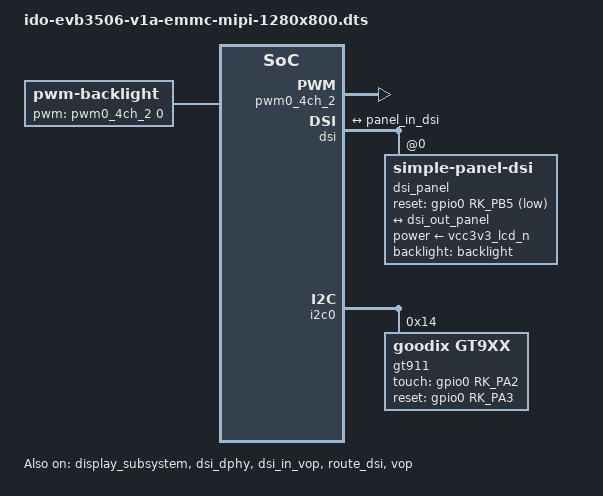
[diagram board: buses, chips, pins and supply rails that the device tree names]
// SPDX-License-Identifier: (GPL-2.0+ OR MIT)
/*
 * Copyright (c) 2024 Rockchip Electronics Co., Ltd.
 */


#include <dt-bindings/display/drm_mipi_dsi.h>
#include <dt-bindings/input/rk-input.h>
#include <dt-bindings/suspend/rockchip-rk3506.h>
#include "ido-evb3506-v1a-emmc.dtsi"

/ {
	backlight: backlight {
		compatible = "pwm-backlight";
		pwms = <&pwm0_4ch_2 0 25000 0>;
		brightness-levels = <
			  0  20  20  21  21  22  22  23
			 23  24  24  25  25  26  26  27
			 27  28  28  29  29  30  30  31
			 31  32  32  33  33  34  34  35
			 35  36  36  37  37  38  38  39
			 40  41  42  43  44  45  46  47
			 48  49  50  51  52  53  54  55
			 56  57  58  59  60  61  62  63
			 64  65  66  67  68  69  70  71
			 72  73  74  75  76  77  78  79
			 80  81  82  83  84  85  86  87
			 88  89  90  91  92  93  94  95
			 96  97  98  99 100 101 102 103
			104 105 106 107 108 109 110 111
			112 113 114 115 116 117 118 119
			120 121 122 123 124 125 126 127
			128 129 130 131 132 133 134 135
			136 137 138 139 140 141 142 143
			144 145 146 147 148 149 150 151
			152 153 154 155 156 157 158 159
			160 161 162 163 164 165 166 167
			168 169 170 171 172 173 174 175
			176 177 178 179 180 181 182 183
			184 185 186 187 188 189 190 191
			192 193 194 195 196 197 198 199
			200 201 202 203 204 205 206 207
			208 209 210 211 212 213 214 215
			216 217 218 219 220 221 222 223
			224 225 226 227 228 229 230 231
			232 233 234 235 236 237 238 239
			240 241 242 243 244 245 246 247
			248 249 250 251 252 253 254 255
		>;
		default-brightness-level = <200>;
		status = "okay";
	};
};


&display_subsystem {
	logo-memory-region = <&drm_logo>;
	status = "okay";
};

&pwm0_4ch_2 {
        pinctrl-names = "active";
        pinctrl-0 = <&rm_io4_pwm0_ch2>;
        status = "okay";
};

&dsi {
	status = "okay";
	//rockchip,lane-rate = <850>;
	logo,rotate = <2>;
	dsi_panel: panel@0 {
		status = "okay";
		compatible = "simple-panel-dsi";
		reg = <0>;
		backlight = <&backlight>;
		reset-gpios  = <&gpio0 RK_PB5 GPIO_ACTIVE_LOW>;
		prepare-delay-ms = <5>;
		reset-delay-ms = <1>;
		init-delay-ms = <80>;
		disable-delay-ms = <10>;
		unprepare-delay-ms = <5>;

		width-mm = <68>;
		height-mm = <121>;

		dsi,flags = <(MIPI_DSI_MODE_VIDEO | MIPI_DSI_MODE_VIDEO_BURST |
			      MIPI_DSI_MODE_LPM | MIPI_DSI_MODE_NO_EOT_PACKET)>;
		dsi,format = <MIPI_DSI_FMT_RGB888>;
		dsi,lanes  = <2>;
		panel-init-sequence = [
#if 0
			39 00 04 B9 F1 12 87
			39 00 04 B2 B4 03 70
			39 00 0B B3 10 10 28 28 03 FF 00 00 00 00
			15 00 02 B4 80
			39 00 03 B5 0A 0A
			39 00 03 B6 8D 8D
			39 00 05 B8 26 22 F0 13
			39 00 1C BA 31 81 05 F9 0E 0E 20 00 00 00 00 00 00 00 44 25 00 91 0A 00 00 01 4F 01 00 00 37
			15 00 02 BC 47
			39 00 06 BF 02 10 00 80 04
			39 00 0A C0 73 73 50 50 00 00 12 73 00
			39 00 12 C1 36 00 32 32 77 E1 77 77 CC CC FF FF 11 11 00 00 32
			39 00 0D C7 10 00 0A 00 00 00 00 00 ED C5 00 A5
			39 00 05 C8 10 40 1E 03
			15 00 02 CC 0B
			39 00 23 E0 00 0A 0F 2A 33 3F 44 39 06 0C 0E 14 15 13 15 10 18 00 0A 0F 2A 33 3F 44 39 06 0C 0E 14 15 13 15 10 18
			39 00 08 E1 11 11 91 00 00 00 00
			39 00 0F E3 07 07 0B 0B 0B 0B 00 00 00 00 FF 04 C0 10
			39 00 40 E9 C8 10 0A 00 00 80 81 12 31 23 4F 86 A0 00 47 08 00 00 0C 00 00 00 00 00 0C 00 00 00 98 02 8B AF 46 02 88 88 88 88 88 98 13 8B AF 57 13 88 88 88 88 88 00 00 00 00 00 00 00 00 00 00 00 00 00 
			39 00 3E EA 97 0C 09 09 09 78 00 00 00 00 00 00 9F 31 8B A8 31 75 88 88 88 88 88 9F 20 8B A8 20 64 88 88 88 88 88 23 00 00 02 71 00 00 00 00 00 00 00 00 00 00 00 00 00 00 00 40 80 81 00 00 00 00
			39 00 04 EF FF FF 01
		/*	mipi init : F700035	*/
			15 00 02 B2 10
			15 00 02 80 AC
			15 00 02 81 B8
			15 00 02 82 09
			15 00 02 83 78
			15 00 02 84 7F
			15 00 02 85 BB
			15 00 02 86 70
#endif
39 00 04 FF 98 81 03    /* Generic_Long_Write_3P(0xFF,0x98,0x81,0x03) */
15 00 02 01 00          /* Generic_Short_Write_1P(0x01,0x00) */
15 00 02 02 00          /* Generic_Short_Write_1P(0x02,0x00) */
15 00 02 03 73          /* Generic_Short_Write_1P(0x03,0x73) */
15 00 02 04 13          /* Generic_Short_Write_1P(0x04,0x13) */
15 00 02 05 00          /* Generic_Short_Write_1P(0x05,0x00) */
15 00 02 06 0A          /* Generic_Short_Write_1P(0x06,0x0A) */
15 00 02 07 05          /* Generic_Short_Write_1P(0x07,0x05) */
15 00 02 08 00          /* Generic_Short_Write_1P(0x08,0x00) */
15 00 02 09 28          /* Generic_Short_Write_1P(0x09,0x28) */
15 00 02 0A 00          /* Generic_Short_Write_1P(0x0A,0x00) */
15 00 02 0B 00          /* Generic_Short_Write_1P(0x0B,0x00) */
15 00 02 0C 00          /* Generic_Short_Write_1P(0x0C,0x00) */
15 00 02 0D 28          /* Generic_Short_Write_1P(0x0D,0x28) */
15 00 02 0E 00          /* Generic_Short_Write_1P(0x0E,0x00) */
15 00 02 0F 28          /* Generic_Short_Write_1P(0x0F,0x28) */
15 00 02 10 28          /* Generic_Short_Write_1P(0x10,0x28) */
15 00 02 11 00          /* Generic_Short_Write_1P(0x11,0x00) */
15 00 02 12 00          /* Generic_Short_Write_1P(0x12,0x00) */
15 00 02 13 00          /* Generic_Short_Write_1P(0x13,0x00) */
15 00 02 14 00          /* Generic_Short_Write_1P(0x14,0x00) */
15 00 02 15 00          /* Generic_Short_Write_1P(0x15,0x00) */
15 00 02 16 00          /* Generic_Short_Write_1P(0x16,0x00) */
15 00 02 17 00          /* Generic_Short_Write_1P(0x17,0x00) */
15 00 02 18 00          /* Generic_Short_Write_1P(0x18,0x00) */
15 00 02 19 00          /* Generic_Short_Write_1P(0x19,0x00) */
15 00 02 1A 00          /* Generic_Short_Write_1P(0x1A,0x00) */
15 00 02 1B 00          /* Generic_Short_Write_1P(0x1B,0x00) */
15 00 02 1C 00          /* Generic_Short_Write_1P(0x1C,0x00) */
15 00 02 1D 00          /* Generic_Short_Write_1P(0x1D,0x00) */
15 00 02 1E 40          /* Generic_Short_Write_1P(0x1E,0x40) */
15 00 02 1F 80          /* Generic_Short_Write_1P(0x1F,0x80) */
15 00 02 20 06          /* Generic_Short_Write_1P(0x20,0x06) */
15 00 02 21 01          /* Generic_Short_Write_1P(0x21,0x01) */
15 00 02 22 00          /* Generic_Short_Write_1P(0x22,0x00) */
15 00 02 23 00          /* Generic_Short_Write_1P(0x23,0x00) */
15 00 02 24 00          /* Generic_Short_Write_1P(0x24,0x00) */
15 00 02 25 00          /* Generic_Short_Write_1P(0x25,0x00) */
15 00 02 26 00          /* Generic_Short_Write_1P(0x26,0x00) */
15 00 02 27 00          /* Generic_Short_Write_1P(0x27,0x00) */
15 00 02 28 33          /* Generic_Short_Write_1P(0x28,0x33) */
15 00 02 29 33          /* Generic_Short_Write_1P(0x29,0x33) */
15 00 02 2A 00          /* Generic_Short_Write_1P(0x2A,0x00) */
15 00 02 2B 00          /* Generic_Short_Write_1P(0x2B,0x00) */
15 00 02 2C 04          /* Generic_Short_Write_1P(0x2C,0x04) */
15 00 02 2D 04          /* Generic_Short_Write_1P(0x2D,0x04) */
15 00 02 2E 05          /* Generic_Short_Write_1P(0x2E,0x05) */
15 00 02 2F 05          /* Generic_Short_Write_1P(0x2F,0x05) */
15 00 02 30 00          /* Generic_Short_Write_1P(0x30,0x00) */
15 00 02 31 00          /* Generic_Short_Write_1P(0x31,0x00) */
15 00 02 32 31          /* Generic_Short_Write_1P(0x32,0x31) */
15 00 02 33 00          /* Generic_Short_Write_1P(0x33,0x00) */
15 00 02 34 00          /* Generic_Short_Write_1P(0x34,0x00) */
15 00 02 35 0A          /* Generic_Short_Write_1P(0x35,0x0A) */
15 00 02 36 00          /* Generic_Short_Write_1P(0x36,0x00) */
15 00 02 37 08          /* Generic_Short_Write_1P(0x37,0x08) */
15 00 02 38 00          /* Generic_Short_Write_1P(0x38,0x00) */
15 00 02 39 00          /* Generic_Short_Write_1P(0x39,0x00) */
15 00 02 3A 00          /* Generic_Short_Write_1P(0x3A,0x00) */
15 00 02 3B 00          /* Generic_Short_Write_1P(0x3B,0x00) */
15 00 02 3C 00          /* Generic_Short_Write_1P(0x3C,0x00) */
15 00 02 3D 00          /* Generic_Short_Write_1P(0x3D,0x00) */
15 00 02 3E 00          /* Generic_Short_Write_1P(0x3E,0x00) */
15 00 02 3F 00          /* Generic_Short_Write_1P(0x3F,0x00) */
15 00 02 40 00          /* Generic_Short_Write_1P(0x40,0x00) */
15 00 02 41 00          /* Generic_Short_Write_1P(0x41,0x00) */
15 00 02 42 00          /* Generic_Short_Write_1P(0x42,0x00) */
15 00 02 43 08          /* Generic_Short_Write_1P(0x43,0x08) */
15 00 02 44 00          /* Generic_Short_Write_1P(0x44,0x00) */

15 00 02 50 01          /* Generic_Short_Write_1P(0x50,0x01) */
15 00 02 51 23          /* Generic_Short_Write_1P(0x51,0x23) */
15 00 02 52 44          /* Generic_Short_Write_1P(0x52,0x44) */
15 00 02 53 67          /* Generic_Short_Write_1P(0x53,0x67) */
15 00 02 54 89          /* Generic_Short_Write_1P(0x54,0x89) */
15 00 02 55 AB          /* Generic_Short_Write_1P(0x55,0xAB) */
15 00 02 56 01          /* Generic_Short_Write_1P(0x56,0x01) */
15 00 02 57 23          /* Generic_Short_Write_1P(0x57,0x23) */
15 00 02 58 45          /* Generic_Short_Write_1P(0x58,0x45) */
15 00 02 59 67          /* Generic_Short_Write_1P(0x59,0x67) */
15 00 02 5A 89          /* Generic_Short_Write_1P(0x5A,0x89) */
15 00 02 5B AB          /* Generic_Short_Write_1P(0x5B,0xAB) */
15 00 02 5C CD          /* Generic_Short_Write_1P(0x5C,0xCD) */
15 00 02 5D EF          /* Generic_Short_Write_1P(0x5D,0xEF) */

15 00 02 5E 11          /* Generic_Short_Write_1P(0x5E,0x11) */
15 00 02 5F 02          /* Generic_Short_Write_1P(0x5F,0x02) */
15 00 02 60 08          /* Generic_Short_Write_1P(0x60,0x08) */
15 00 02 61 0E          /* Generic_Short_Write_1P(0x61,0x0E) */
15 00 02 62 0F          /* Generic_Short_Write_1P(0x62,0x0F) */
15 00 02 63 0C          /* Generic_Short_Write_1P(0x63,0x0C) */
15 00 02 64 0D          /* Generic_Short_Write_1P(0x64,0x0D) */
15 00 02 65 17          /* Generic_Short_Write_1P(0x65,0x17) */
15 00 02 66 01          /* Generic_Short_Write_1P(0x66,0x01) */
15 00 02 67 01          /* Generic_Short_Write_1P(0x67,0x01) */
15 00 02 68 02          /* Generic_Short_Write_1P(0x68,0x02) */
15 00 02 69 02          /* Generic_Short_Write_1P(0x69,0x02) */
15 00 02 6A 00          /* Generic_Short_Write_1P(0x6A,0x00) */
15 00 02 6B 00          /* Generic_Short_Write_1P(0x6B,0x00) */
15 00 02 6C 02          /* Generic_Short_Write_1P(0x6C,0x02) */
15 00 02 6D 02          /* Generic_Short_Write_1P(0x6D,0x02) */
15 00 02 6E 16          /* Generic_Short_Write_1P(0x6E,0x16) */
15 00 02 6F 16          /* Generic_Short_Write_1P(0x6F,0x16) */
15 00 02 70 06          /* Generic_Short_Write_1P(0x70,0x06) */
15 00 02 71 06          /* Generic_Short_Write_1P(0x71,0x06) */
15 00 02 72 07          /* Generic_Short_Write_1P(0x72,0x07) */
15 00 02 73 07          /* Generic_Short_Write_1P(0x73,0x07) */
15 00 02 74 02          /* Generic_Short_Write_1P(0x74,0x02) */
15 00 02 75 02          /* Generic_Short_Write_1P(0x75,0x02) */
15 00 02 76 08          /* Generic_Short_Write_1P(0x76,0x08) */
15 00 02 77 0E          /* Generic_Short_Write_1P(0x77,0x0E) */
15 00 02 78 0F          /* Generic_Short_Write_1P(0x78,0x0F) */
15 00 02 79 0C          /* Generic_Short_Write_1P(0x79,0x0C) */
15 00 02 7A 0D          /* Generic_Short_Write_1P(0x7A,0x0D) */
15 00 02 7B 17          /* Generic_Short_Write_1P(0x7B,0x17) */

15 00 02 7C 01          /* Generic_Short_Write_1P(0x7C,0x01) */
15 00 02 7D 01          /* Generic_Short_Write_1P(0x7D,0x01) */
15 00 02 7E 02          /* Generic_Short_Write_1P(0x7E,0x02) */
15 00 02 7F 02          /* Generic_Short_Write_1P(0x7F,0x02) */
15 00 02 80 00          /* Generic_Short_Write_1P(0x80,0x00) */
15 00 02 81 00          /* Generic_Short_Write_1P(0x81,0x00) */
15 00 02 82 02          /* Generic_Short_Write_1P(0x82,0x02) */
15 00 02 83 02          /* Generic_Short_Write_1P(0x83,0x02) */
15 00 02 84 16          /* Generic_Short_Write_1P(0x84,0x16) */
15 00 02 85 16          /* Generic_Short_Write_1P(0x85,0x16) */
15 00 02 86 06          /* Generic_Short_Write_1P(0x86,0x06) */
15 00 02 87 06          /* Generic_Short_Write_1P(0x87,0x06) */
15 00 02 88 07          /* Generic_Short_Write_1P(0x88,0x07) */
15 00 02 89 07          /* Generic_Short_Write_1P(0x89,0x07) */
15 00 02 8A 02          /* Generic_Short_Write_1P(0x8A,0x02) */

39 00 04 FF 98 81 04    /* Generic_Long_Write_3P(0xFF,0x98,0x81,0x04) */
15 00 02 6E 1A          /* Generic_Short_Write_1P(0x6E,0x1A) */
15 00 02 6F 37          /* Generic_Short_Write_1P(0x6F,0x37) */
15 00 02 3A A4          /* Generic_Short_Write_1P(0x3A,0xA4) */
15 00 02 8D 1F          /* Generic_Short_Write_1P(0x8D,0x1F) */
15 00 02 87 BA          /* Generic_Short_Write_1P(0x87,0xBA) */
15 00 02 B2 D1          /* Generic_Short_Write_1P(0xB2,0xD1) */
15 00 02 88 0B          /* Generic_Short_Write_1P(0x88,0x0B) */
15 00 02 38 01          /* Generic_Short_Write_1P(0x38,0x01) */
15 00 02 39 00          /* Generic_Short_Write_1P(0x39,0x00) */
15 00 02 B5 02          /* Generic_Short_Write_1P(0xB5,0x02) */
15 00 02 31 25          /* Generic_Short_Write_1P(0x31,0x25) */
15 00 02 3B C0          /* Generic_Short_Write_1P(0x3B,0xC0) */

39 00 04 FF 98 81 01    /* Generic_Long_Write_3P(0xFF,0x98,0x81,0x01) */
15 00 02 22 09          /* Generic_Short_Write_1P(0x22,0x09) */
15 00 02 31 00          /* Generic_Short_Write_1P(0x31,0x00) */
15 00 02 40 53          /* Generic_Short_Write_1P(0x40,0x53) */
15 00 02 53 5A          /* Generic_Short_Write_1P(0x53,0x5A) */
15 00 02 55 69          /* Generic_Short_Write_1P(0x55,0x69) */
15 00 02 50 9E          /* Generic_Short_Write_1P(0x50,0x9E) */
15 00 02 51 99          /* Generic_Short_Write_1P(0x51,0x99) */
15 00 02 60 06          /* Generic_Short_Write_1P(0x60,0x06) */
15 00 02 62 20          /* Generic_Short_Write_1P(0x62,0x20) */
15 00 02 B6 90          /* Generic_Short_Write_1P(0xB6,0x90) */
15 00 02 B7 03          /* Generic_Short_Write_1P(0xB7,0x03) */

/* Gamma参数设置 */
15 00 02 A0 00          /* Generic_Short_Write_1P(0xA0,0x00) */
15 00 02 A1 17          /* Generic_Short_Write_1P(0xA1,0x17) */
15 00 02 A2 26          /* Generic_Short_Write_1P(0xA2,0x26) */
15 00 02 A3 13          /* Generic_Short_Write_1P(0xA3,0x13) */
15 00 02 A4 16          /* Generic_Short_Write_1P(0xA4,0x16) */
15 00 02 A5 29          /* Generic_Short_Write_1P(0xA5,0x29) */
15 00 02 A6 1E          /* Generic_Short_Write_1P(0xA6,0x1E) */
15 00 02 A7 1F          /* Generic_Short_Write_1P(0xA7,0x1F) */
15 00 02 A8 8B          /* Generic_Short_Write_1P(0xA8,0x8B) */
15 00 02 A9 1D          /* Generic_Short_Write_1P(0xA9,0x1D) */
15 00 02 AA 2A          /* Generic_Short_Write_1P(0xAA,0x2A) */
15 00 02 AB 7B          /* Generic_Short_Write_1P(0xAB,0x7B) */
15 00 02 AC 1A          /* Generic_Short_Write_1P(0xAC,0x1A) */
15 00 02 AD 19          /* Generic_Short_Write_1P(0xAD,0x19) */
15 00 02 AE 4E          /* Generic_Short_Write_1P(0xAE,0x4E) */
15 00 02 AF 24          /* Generic_Short_Write_1P(0xAF,0x24) */
15 00 02 B0 29          /* Generic_Short_Write_1P(0xB0,0x29) */
15 00 02 B1 4F          /* Generic_Short_Write_1P(0xB1,0x4F) */
15 00 02 B2 5C          /* Generic_Short_Write_1P(0xB2,0x5C) */
15 00 02 B3 23          /* Generic_Short_Write_1P(0xB3,0x23) */

15 00 02 C0 00          /* Generic_Short_Write_1P(0xC0,0x00) */
15 00 02 C1 17          /* Generic_Short_Write_1P(0xC1,0x17) */
15 00 02 C2 26          /* Generic_Short_Write_1P(0xC2,0x26) */
15 00 02 C3 13          /* Generic_Short_Write_1P(0xC3,0x13) */
15 00 02 C4 16          /* Generic_Short_Write_1P(0xC4,0x16) */
15 00 02 C5 29          /* Generic_Short_Write_1P(0xC5,0x29) */
15 00 02 C6 1E          /* Generic_Short_Write_1P(0xC6,0x1E) */
15 00 02 C7 1F          /* Generic_Short_Write_1P(0xC7,0x1F) */
15 00 02 C8 8B          /* Generic_Short_Write_1P(0xC8,0x8B) */
15 00 02 C9 1D          /* Generic_Short_Write_1P(0xC9,0x1D) */
15 00 02 CA 2A          /* Generic_Short_Write_1P(0xCA,0x2A) */
15 00 02 CB 7B          /* Generic_Short_Write_1P(0xCB,0x7B) */
15 00 02 CC 1A          /* Generic_Short_Write_1P(0xCC,0x1A) */
15 00 02 CD 19          /* Generic_Short_Write_1P(0xCD,0x19) */
15 00 02 CE 4E          /* Generic_Short_Write_1P(0xCE,0x4E) */
15 00 02 CF 24          /* Generic_Short_Write_1P(0xCF,0x24) */
15 00 02 D0 29          /* Generic_Short_Write_1P(0xD0,0x29) */
15 00 02 D1 4D          /* Generic_Short_Write_1P(0xD1,0x4D) */
15 00 02 D2 5C          /* Generic_Short_Write_1P(0xD2,0x5C) */
15 00 02 D3 23          /* Generic_Short_Write_1P(0xD3,0x23) */

39 00 04 FF 98 81 00    /* Generic_Long_Write_3P(0xFF,0x98,0x81,0x00) */




			05 96 01 11
			05 14 01 29
		];

		disp_timings0: display-timings {
			native-mode = <&dsi_timing2>;
			dsi_timing0: timing0 {
				clock-frequency = <48000000>;
				hactive = <720>;
				vactive = <720>;
				hfront-porch = <106>;
				hsync-len = <8>;
				hback-porch = <120>;
				vfront-porch = <20>;
				vsync-len = <4>;
				vback-porch = <20>;
				hsync-active = <0>;
				vsync-active = <0>;
				de-active = <0>;
				pixelclk-active = <0>;
			};
			dsi_timing1: timing1 {
				clock-frequency = <52000000>;
				hactive = <1024>;
				vactive = <600>;
				hfront-porch = <5>;
				hsync-len = <10>;
				hback-porch = <60>;
				vfront-porch = <12>;
				vsync-len = <2>;
				vback-porch = <23>;
				hsync-active = <0>;
				vsync-active = <0>;
				de-active = <0>;
				pixelclk-active = <0>;
			};
                        dsi_timing2: timing2 {
                                clock-frequency = <73400000>;
                                hactive = <800>;
                                vactive = <1280>;
                                hfront-porch = <52>;
                                hsync-len = <4>;
                                hback-porch = <12>;
                                vfront-porch = <60>;
                                vsync-len = <18>;
                                vback-porch = <50>;
                                hsync-active = <0>;
                                vsync-active = <0>;
                                de-active = <0>;
                                pixelclk-active = <1>;
                        };

		};

		ports {
			#address-cells = <1>;
			#size-cells = <0>;

			port@0 {
				reg = <0>;
				panel_in_dsi: endpoint {
					remote-endpoint = <&dsi_out_panel>;
				};
			};
		};
	};

	ports {
		#address-cells = <1>;
		#size-cells = <0>;

		port@1 {
			reg = <1>;
			dsi_out_panel: endpoint {
				remote-endpoint = <&panel_in_dsi>;
			};
		};
	};

};

&dsi_dphy {
    status = "okay";
};

&dsi_in_vop {
	status = "okay";
};

&dsi_panel {
	power-supply = <&vcc3v3_lcd_n>;
};

&route_dsi{
        status = "okay";
		connect = <&vop_out_dsi>;
};

&i2c0 {
	status = "okay";
	pinctrl-names = "default";
	pinctrl-0 = <&rm_io0_i2c0_scl
		     &rm_io1_i2c0_sda>;

	gt911@14 {
		compatible = "goodix,gt9xx";
		reg = <0x14>;
		pinctrl-0 = <&touch_gpio>;
		touch-gpio = <&gpio0 RK_PA2 IRQ_TYPE_LEVEL_LOW>;
		reset-gpio = <&gpio0 RK_PA3 GPIO_ACTIVE_HIGH>;
		max-x = <800>;
		max-y = <1280>;
		tp-size = <9110>;
		touchscreen-inverted-x;
		touchscreen-inverted-y;
//		touchscreen-swapped-x-y;
		status = "okay";
	};
};

&vop {
	status = "okay";
};

&pinctrl {
	touch {
		touch_gpio: touch-gpio {
			rockchip,pins = <0 RK_PA2 RK_FUNC_GPIO &pcfg_pull_none>;
		};
		
		reset_gpio: reset-gpio {
			rockchip,pins = <0 RK_PA3 RK_FUNC_GPIO &pcfg_pull_none>;
		};
	};
};
